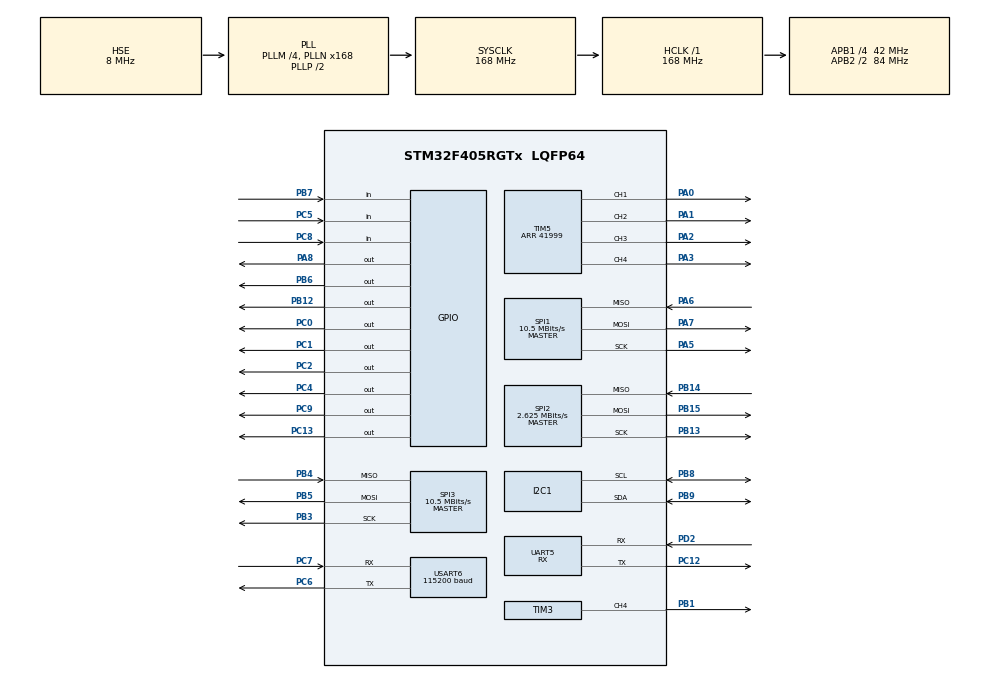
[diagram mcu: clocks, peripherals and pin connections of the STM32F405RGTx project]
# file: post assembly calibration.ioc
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I2C1.I2C_Mode=I2C_Fast
Mcu.Family=STM32F4
Mcu.Name=STM32F405RGTx
Mcu.Package=LQFP64
NVIC.PriorityGroup=NVIC_PRIORITYGROUP_4
NVIC.UART5_IRQn=true\:0\:0\:false\:false\:true\:true\:true\:true
NVIC.USART6_IRQn=true\:0\:0\:false\:false\:true\:true\:true\:true
PA0-WKUP.Signal=S_TIM5_CH1
PA1.Signal=S_TIM5_CH2
PA2.Signal=S_TIM5_CH3
PA3.Signal=S_TIM5_CH4
PA5.Mode=Full_Duplex_Master
PA5.Signal=SPI1_SCK
PA6.Mode=Full_Duplex_Master
PA6.Signal=SPI1_MISO
PA7.Mode=Full_Duplex_Master
PA7.Signal=SPI1_MOSI
PA8.Signal=GPIO_Output
PB1.Signal=S_TIM3_CH4
PB12.Signal=GPIO_Output
PB13.Mode=Full_Duplex_Master
PB13.Signal=SPI2_SCK
PB14.Mode=Full_Duplex_Master
PB14.Signal=SPI2_MISO
PB15.Mode=Full_Duplex_Master
PB15.Signal=SPI2_MOSI
PB3.Mode=Full_Duplex_Master
PB3.Signal=SPI3_SCK
PB4.Mode=Full_Duplex_Master
PB4.Signal=SPI3_MISO
PB5.Mode=Full_Duplex_Master
PB5.Signal=SPI3_MOSI
PB6.Signal=GPIO_Output
PB7.Signal=GPIO_Input
PB8.Mode=I2C
PB8.Signal=I2C1_SCL
PB9.Mode=I2C
PB9.Signal=I2C1_SDA
PC0.Signal=GPIO_Output
PC1.Signal=GPIO_Output
PC12.Mode=Asynchronous
PC12.Signal=UART5_TX
PC13-ANTI_TAMP.PinState=GPIO_PIN_SET
PC13-ANTI_TAMP.Signal=GPIO_Output
PC2.Signal=GPIO_Output
PC4.Signal=GPIO_Output
PC5.Signal=GPIO_Input
PC6.Mode=Asynchronous
PC6.Signal=USART6_TX
PC7.Mode=Asynchronous
PC7.Signal=USART6_RX
PC8.Signal=GPIO_Input
PC9.Signal=GPIO_Output
PD2.Mode=Asynchronous
PD2.Signal=UART5_RX
PH0-OSC_IN.Mode=HSE-External-Oscillator
PH0-OSC_IN.Signal=RCC_OSC_IN
PH1-OSC_OUT.Mode=HSE-External-Oscillator
PH1-OSC_OUT.Signal=RCC_OSC_OUT
ProjectManager.HeapSize=0x200
ProjectManager.StackSize=0x400
ProjectManager.TargetToolchain=STM32CubeIDE
RCC.48MHZClocksFreq_Value=84000000
RCC.AHBFreq_Value=168000000
RCC.APB1CLKDivider=RCC_HCLK_DIV4
RCC.APB1Freq_Value=42000000
RCC.APB1TimFreq_Value=84000000
RCC.APB2CLKDivider=RCC_HCLK_DIV2
RCC.APB2Freq_Value=84000000
RCC.APB2TimFreq_Value=168000000
RCC.CortexFreq_Value=168000000
RCC.HCLKFreq_Value=168000000
RCC.HSE_VALUE=8000000
RCC.HSI_VALUE=16000000
RCC.LSE_VALUE=32768
RCC.PLLM=4
RCC.PLLN=168
RCC.PLLSourceVirtual=RCC_PLLSOURCE_HSE
RCC.SYSCLKFreq_VALUE=168000000
RCC.SYSCLKSource=RCC_SYSCLKSOURCE_PLLCLK
RCC.VCOOutputFreq_Value=336000000
SH.S_TIM3_CH4.0=TIM3_CH4,PWM Generation4 CH4
SH.S_TIM5_CH1.0=TIM5_CH1,PWM Generation1 CH1
SH.S_TIM5_CH2.0=TIM5_CH2,PWM Generation2 CH2
SH.S_TIM5_CH3.0=TIM5_CH3,PWM Generation3 CH3
SH.S_TIM5_CH4.0=TIM5_CH4,PWM Generation4 CH4
SPI1.BaudRatePrescaler=SPI_BAUDRATEPRESCALER_8
SPI1.CLKPhase=SPI_PHASE_2EDGE
SPI1.CLKPolarity=SPI_POLARITY_HIGH
SPI1.CalculateBaudRate=10.5 MBits/s
SPI1.DataSize=SPI_DATASIZE_8BIT
SPI1.Direction=SPI_DIRECTION_2LINES
SPI1.Mode=SPI_MODE_MASTER
SPI1.VirtualType=VM_MASTER
SPI2.BaudRatePrescaler=SPI_BAUDRATEPRESCALER_16
SPI2.CLKPhase=SPI_PHASE_2EDGE
SPI2.CLKPolarity=SPI_POLARITY_HIGH
SPI2.CalculateBaudRate=2.625 MBits/s
SPI2.Direction=SPI_DIRECTION_2LINES
SPI2.Mode=SPI_MODE_MASTER
SPI2.VirtualType=VM_MASTER
SPI3.BaudRatePrescaler=SPI_BAUDRATEPRESCALER_4
SPI3.CLKPhase=SPI_PHASE_2EDGE
SPI3.CLKPolarity=SPI_POLARITY_HIGH
SPI3.CalculateBaudRate=10.5 MBits/s
SPI3.Direction=SPI_DIRECTION_2LINES
SPI3.Mode=SPI_MODE_MASTER
SPI3.VirtualType=VM_MASTER
TIM3.AutoReloadPreload=TIM_AUTORELOAD_PRELOAD_ENABLE
TIM3.Channel-PWM\ Generation4\ CH4=TIM_CHANNEL_4
TIM3.OCFastMode_PWM-PWM\ Generation4\ CH4=TIM_OCFAST_ENABLE
TIM3.Period=20
TIM3.Prescaler=999
TIM3.Pulse-PWM\ Generation4\ CH4=10
TIM5.AutoReloadPreload=TIM_AUTORELOAD_PRELOAD_ENABLE
TIM5.Channel-PWM\ Generation1\ CH1=TIM_CHANNEL_1
TIM5.Channel-PWM\ Generation2\ CH2=TIM_CHANNEL_2
TIM5.Channel-PWM\ Generation3\ CH3=TIM_CHANNEL_3
TIM5.Channel-PWM\ Generation4\ CH4=TIM_CHANNEL_4
TIM5.OCFastMode_PWM-PWM\ Generation1\ CH1=TIM_OCFAST_ENABLE
TIM5.OCFastMode_PWM-PWM\ Generation2\ CH2=TIM_OCFAST_ENABLE
TIM5.OCFastMode_PWM-PWM\ Generation3\ CH3=TIM_OCFAST_ENABLE
TIM5.OCFastMode_PWM-PWM\ Generation4\ CH4=TIM_OCFAST_ENABLE
TIM5.Period=41999
TIM5.Pulse-PWM\ Generation1\ CH1=0
TIM5.Pulse-PWM\ Generation2\ CH2=0
TIM5.Pulse-PWM\ Generation3\ CH3=0
UART5.Mode=MODE_RX
UART5.VirtualMode=Asynchronous
USART6.BaudRate=115200
USART6.VirtualMode=VM_ASYNC
VP_TIM3_VS_ClockSourceINT.Mode=Internal
VP_TIM5_VS_ClockSourceINT.Mode=Internal
board=custom

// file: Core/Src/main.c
/* USER CODE BEGIN Header */
/**
 ******************************************************************************
 * @file           : main.c
 * @brief          : Main program body
 ******************************************************************************
 * @attention
 *
 * Copyright (c) 2025 STMicroelectronics.
 * All rights reserved.
 *
 * This software is licensed under terms that can be found in the LICENSE file
 * in the root directory of this software component.
 * If no LICENSE file comes with this software, it is provided AS-IS.
 *
 ******************************************************************************
 */
/* USER CODE END Header */
#include "main.h"

/* USER CODE BEGIN Includes */
#include "bno080.h"
#include "quaternion.h"
#include "icm20602.h"
#include "LPS22HH.h"
#include "FS-iA6B.h"
#include <stdio.h>
/* USER CODE END Includes */

/* USER CODE BEGIN PTD */
int _write(int file, char *p, int len)
{
	for (int i = 0; i < len; i ++)
	{
		LL_USART_TransmitData8(USART6, *(p + i));
		HAL_Delay(1);
	}
	return len;
}
/* USER CODE END PTD */

/* USER CODE BEGIN PD */
#define X 0.90f // LOW PASS FILTER CONSTANT (CLOSER TO 1 -> STRONGER THE FILTER)
/* USER CODE END PD */

I2C_HandleTypeDef hi2c1;

/* USER CODE BEGIN PV */
extern uint8_t uart6_rx_flag;
extern uint8_t uart6_rx_data;

extern uint8_t ibus_rx_buf[36];
extern uint8_t ibus_rx_cplt_flag;

extern FSiA6B_iBus iBus;
/* USER CODE END PV */

void SystemClock_Config(void);
static void MX_GPIO_Init(void);
static void MX_TIM3_Init(void);
static void MX_USART6_UART_Init(void);
static void MX_SPI2_Init(void);
static void MX_SPI1_Init(void);
static void MX_SPI3_Init(void);
static void MX_UART5_Init(void);
static void MX_TIM5_Init(void);
static void MX_I2C1_Init(void);

int main(void)
{

  /* USER CODE BEGIN 1 */
	float q[4]; // array to store components of quaternion (x, y, z, w)
	float quatRadianAccuracy;
	unsigned char buf_read[16] = {0};
	unsigned char buf_write[17] = {1, 2, 3, 4, 5, 6, 7, 8, 9, 10, 11, 12, 13, 14, 15, 16, 17};
  /* USER CODE END 1 */

  /* MCU Configuration--------------------------------------------------------*/

  /* Reset of all peripherals, Initializes the Flash interface and the Systick. */
  HAL_Init();

  /* Configure the system clock */
  SystemClock_Config();

  /* Initialize all configured peripherals */
  MX_GPIO_Init();
  MX_TIM3_Init();
  MX_USART6_UART_Init();
  MX_SPI2_Init();
  MX_SPI1_Init();
  MX_SPI3_Init();
  MX_UART5_Init();
  MX_TIM5_Init();
  MX_I2C1_Init();
  /* USER CODE BEGIN 2 */
	LL_TIM_EnableCounter(TIM3);

	LL_USART_EnableIT_RXNE(USART6);
	// TODO: enable interrupt pin for GPS module
	LL_USART_EnableIT_RXNE(UART5);

	// initialize 9-axis sensor for rotation vector
	BNO080_Initialization();
	BNO080_enableRotationVector(2500);

	// initialize 6-axis sensor for angular velocity
	ICM20602_Initialization();

	// initialize barometric sensor for altitude
	LPS22HH_Initialization();

	// TODO: initialize M8N GPS module

	// initialize timer for generating PWM signals to motors
	LL_TIM_EnableCounter(TIM5);
	LL_TIM_CC_EnableChannel(TIM5, LL_TIM_CHANNEL_CH1);
	LL_TIM_CC_EnableChannel(TIM5, LL_TIM_CHANNEL_CH2);
	LL_TIM_CC_EnableChannel(TIM5, LL_TIM_CHANNEL_CH3);
	LL_TIM_CC_EnableChannel(TIM5, LL_TIM_CHANNEL_CH4);

	// block until iBus connection established
//	while (!iBus_Connection_Status)
//	{
//		LL_TIM_CC_EnableChannel(TIM3, LL_TIM_CHANNEL_CH4);
//
//		TIM3->PSC = 3000;
//		HAL_Delay(200);
//		LL_TIM_CC_DisableChannel(TIM3, LL_TIM_CHANNEL_CH4);
//		HAL_Delay(200);
//	}

	// calibration switch active?
//	if (iBus.SwC == 2000)
//	{
//		LL_TIM_CC_EnableChannel(TIM3, LL_TIM_CHANNEL_CH4);
//
//		TIM3->PSC = 1500;
//		HAL_Delay(200);
//		TIM3->PSC = 2000;
//		HAL_Delay(200);
//		TIM3->PSC = 1500;
//		HAL_Delay(200);
//		TIM3->PSC = 2000;
//		HAL_Delay(200);
//
//		LL_TIM_CC_DisableChannel(TIM3, LL_TIM_CHANNEL_CH4);
//
//		ESC_Calibration();
//		while (iBus.SwC != 1000)
//		{
//			iBus_Connection_Status();
//
//			LL_TIM_CC_EnableChannel(TIM3, LL_TIM_CHANNEL_CH4);
//
//			TIM3->PSC = 2000;
//			HAL_Delay(200);
//			TIM3->PSC = 2500;
//			HAL_Delay(200);
//
//			LL_TIM_CC_DisableChannel(TIM3, LL_TIM_CHANNEL_CH4);
//		}
//	}

	// ensure throttle stick is at minimum upon startup
//	while (!iBus_Throttle_Min())
//	{
//		LL_TIM_CC_EnableChannel(TIM3, LL_TIM_CHANNEL_CH4);
//
//		TIM3->PSC = 1000;
//		HAL_Delay(70);
//		LL_TIM_CC_DisableChannel(TIM3, LL_TIM_CHANNEL_CH4);
//		HAL_Delay(70);
//	}

	HAL_I2C_Mem_Read(&hi2c1, 0xA0, 0x00, I2C_MEMADD_SIZE_8BIT, &buf_read[0], sizeof(buf_read), 1);

	for(int i = 0; i < 16; i++) printf("%d ", buf_read[i]);

	LL_GPIO_ResetOutputPin(GPIOC, LL_GPIO_PIN_13);
	HAL_I2C_Mem_Write(&hi2c1, 0xA0, 0x00, I2C_MEMADD_SIZE_8BIT, &buf_write[0], sizeof(buf_write), 1);
	HAL_Delay(1);
	LL_GPIO_SetOutputPin(GPIOC, LL_GPIO_PIN_13);

	HAL_I2C_Mem_Read(&hi2c1, 0xA0, 0x00, I2C_MEMADD_SIZE_8BIT, &buf_read[0], sizeof(buf_read), 1);

	for(int i = 0; i < 16; i++) printf("%d ", buf_read[i]);

	// buzzer to indicate successful startup
	LL_TIM_CC_EnableChannel(TIM3, LL_TIM_CHANNEL_CH4);

	TIM3->PSC = 2000;
	HAL_Delay(100);
	TIM3->PSC = 1500;
	HAL_Delay(100);
	TIM3->PSC = 1000;
	HAL_Delay(100);

	LL_TIM_CC_DisableChannel(TIM3, LL_TIM_CHANNEL_CH4);

	printf("start\n");

  /* USER CODE END 2 */

  /* Infinite loop */
	while (1)
	{

    /* USER CODE BEGIN 3 */
			if (BNO080_dataAvailable())
			{
				q[0] = BNO080_getQuatI();
				q[1] = BNO080_getQuatJ();
				q[2] = BNO080_getQuatK();
				q[3] = BNO080_getQuatReal();
				quatRadianAccuracy = BNO080_getQuatRadianAccuracy();

				Quaternion_Update(&q[0]);

				//printf("R: %d, P: %d, Y: %d\n", (int) (BNO080_Roll * 100), (int) (BNO080_Pitch * 100), (int) (BNO080_Yaw * 100));
				printf("%d, %d\n", (int) (BNO080_Roll * 100), (int) (BNO080_Pitch * 100));
			}

		//	if (ICM20602_DataReady())
		//	{
		//		ICM20602_Get3AxisGyroRawData(&ICM20602->gyro_x_raw);
		//
		//		ICM20602->gyro_x = ICM20602->gyro_x_raw * 2000.f / 32768.f;
		//		ICM20602->gyro_y = ICM20602->gyro_y_raw * 2000.f / 32768.f;
		//		ICM20602->gyro_z = ICM20602->gyro_z_raw * 2000.f / 32768.f;
		//
		//		printf("%d %d %d\n", ICM20602->gyro_x_raw, ICM20602->gyro_y_raw, ICM20602->gyro_z_raw);
		//		printf("%d %d %d\n", (int)(ICM20602->gyro_x*100), (int)(ICM20602->gyro_y*100), (int)(ICM20602->gyro_z*100));
		//	}

		//	if (LPS22HH_DataReady())
		//	{
		//		LPS22HH_GetPressure(&LPS22HH.pressure_raw);
		//		LPS22HH_GetTemperature(&LPS22HH.temperature_raw);
		//
		//		LPS22HH.baroAlt = getAltitude2(LPS22HH.pressure_raw/4096.f, LPS22HH.temperature_raw/100.f); // altitude in cms
		//
		//		LPS22HH.baroAltFilt = LPS22HH.baroAltFilt * X + LPS22HH.baroAlt * (1.0f - X);
		//
		//		printf("%d %d\n", (int) (LPS22HH.baroAlt*100), (int) (LPS22HH.baroAltFilt*100));
		//	}

//		if (ibus_rx_cplt_flag)
//		{
//			ibus_rx_cplt_flag = 0;
//			if (iBus_Check_CHKSUM(&ibus_rx_buf[0], 32))
//			{
//				LL_GPIO_TogglePin(GPIOC, LL_GPIO_PIN_2); // toggle LED if iBus frame checksum successful --> intact iBus frame
//
//				iBus_Parse(&ibus_rx_buf[0], &iBus); // parse and store switch/gimbal data in iBus structure
//
//				// failsafe for shutting down upon abrupt disconnect between transmitter and receiver
//				if (iBus_isActiveFailsafe(&iBus))
//				{
//					LL_TIM_CC_EnableChannel(TIM3, LL_TIM_CHANNEL_CH4);
//				}
//				else
//				{
//					LL_TIM_CC_DisableChannel(TIM3, LL_TIM_CHANNEL_CH4);
//				}
//
//				//        	printf("%d\t%d\t%d\t%d\t%d\t%d\t\n", iBus.RH, iBus.RV, iBus.LV, iBus.LH, iBus.SwA, iBus.SwC);
//				//
//				//        	HAL_Delay(30);
//			}
//		}
	}
  /* USER CODE END 3 */
}

void SystemClock_Config(void)
{
  RCC_OscInitTypeDef RCC_OscInitStruct = {0};
  RCC_ClkInitTypeDef RCC_ClkInitStruct = {0};

  /** Configure the main internal regulator output voltage
  */
  __HAL_RCC_PWR_CLK_ENABLE();
  __HAL_PWR_VOLTAGESCALING_CONFIG(PWR_REGULATOR_VOLTAGE_SCALE1);

  /** Initializes the RCC Oscillators according to the specified parameters
  * in the RCC_OscInitTypeDef structure.
  */
  RCC_OscInitStruct.OscillatorType = RCC_OSCILLATORTYPE_HSE;
  RCC_OscInitStruct.HSEState = RCC_HSE_ON;
  RCC_OscInitStruct.PLL.PLLState = RCC_PLL_ON;
  RCC_OscInitStruct.PLL.PLLSource = RCC_PLLSOURCE_HSE;
  RCC_OscInitStruct.PLL.PLLM = 4;
  RCC_OscInitStruct.PLL.PLLN = 168;
  RCC_OscInitStruct.PLL.PLLP = RCC_PLLP_DIV2;
  RCC_OscInitStruct.PLL.PLLQ = 4;
  if (HAL_RCC_OscConfig(&RCC_OscInitStruct) != HAL_OK)
  {
    Error_Handler();
  }

  /** Initializes the CPU, AHB and APB buses clocks
  */
  RCC_ClkInitStruct.ClockType = RCC_CLOCKTYPE_HCLK|RCC_CLOCKTYPE_SYSCLK
                              |RCC_CLOCKTYPE_PCLK1|RCC_CLOCKTYPE_PCLK2;
  RCC_ClkInitStruct.SYSCLKSource = RCC_SYSCLKSOURCE_PLLCLK;
  RCC_ClkInitStruct.AHBCLKDivider = RCC_SYSCLK_DIV1;
  RCC_ClkInitStruct.APB1CLKDivider = RCC_HCLK_DIV4;
  RCC_ClkInitStruct.APB2CLKDivider = RCC_HCLK_DIV2;

  if (HAL_RCC_ClockConfig(&RCC_ClkInitStruct, FLASH_LATENCY_5) != HAL_OK)
  {
    Error_Handler();
  }
}

static void MX_I2C1_Init(void)
{

  hi2c1.Instance = I2C1;
  hi2c1.Init.ClockSpeed = 400000;
  hi2c1.Init.DutyCycle = I2C_DUTYCYCLE_2;
  hi2c1.Init.OwnAddress1 = 0;
  hi2c1.Init.AddressingMode = I2C_ADDRESSINGMODE_7BIT;
  hi2c1.Init.DualAddressMode = I2C_DUALADDRESS_DISABLE;
  hi2c1.Init.OwnAddress2 = 0;
  hi2c1.Init.GeneralCallMode = I2C_GENERALCALL_DISABLE;
  hi2c1.Init.NoStretchMode = I2C_NOSTRETCH_DISABLE;
  if (HAL_I2C_Init(&hi2c1) != HAL_OK)
  {
    Error_Handler();
  }

}

static void MX_SPI1_Init(void)
{

  LL_SPI_InitTypeDef SPI_InitStruct = {0};

  LL_GPIO_InitTypeDef GPIO_InitStruct = {0};

  /* Peripheral clock enable */
  LL_APB2_GRP1_EnableClock(LL_APB2_GRP1_PERIPH_SPI1);

  LL_AHB1_GRP1_EnableClock(LL_AHB1_GRP1_PERIPH_GPIOA);
  /**SPI1 GPIO Configuration
  PA5   ------> SPI1_SCK
  PA6   ------> SPI1_MISO
  PA7   ------> SPI1_MOSI
  */
  GPIO_InitStruct.Pin = LL_GPIO_PIN_5|LL_GPIO_PIN_6|LL_GPIO_PIN_7;
  GPIO_InitStruct.Mode = LL_GPIO_MODE_ALTERNATE;
  GPIO_InitStruct.Speed = LL_GPIO_SPEED_FREQ_VERY_HIGH;
  GPIO_InitStruct.OutputType = LL_GPIO_OUTPUT_PUSHPULL;
  GPIO_InitStruct.Pull = LL_GPIO_PULL_NO;
  GPIO_InitStruct.Alternate = LL_GPIO_AF_5;
  LL_GPIO_Init(GPIOA, &GPIO_InitStruct);

  /* SPI1 parameter configuration*/
  SPI_InitStruct.TransferDirection = LL_SPI_FULL_DUPLEX;
  SPI_InitStruct.Mode = LL_SPI_MODE_MASTER;
  SPI_InitStruct.DataWidth = LL_SPI_DATAWIDTH_8BIT;
  SPI_InitStruct.ClockPolarity = LL_SPI_POLARITY_HIGH;
  SPI_InitStruct.ClockPhase = LL_SPI_PHASE_2EDGE;
  SPI_InitStruct.NSS = LL_SPI_NSS_SOFT;
  SPI_InitStruct.BaudRate = LL_SPI_BAUDRATEPRESCALER_DIV8;
  SPI_InitStruct.BitOrder = LL_SPI_MSB_FIRST;
  SPI_InitStruct.CRCCalculation = LL_SPI_CRCCALCULATION_DISABLE;
  SPI_InitStruct.CRCPoly = 10;
  LL_SPI_Init(SPI1, &SPI_InitStruct);
  LL_SPI_SetStandard(SPI1, LL_SPI_PROTOCOL_MOTOROLA);

}

static void MX_SPI2_Init(void)
{

  LL_SPI_InitTypeDef SPI_InitStruct = {0};

  LL_GPIO_InitTypeDef GPIO_InitStruct = {0};

  /* Peripheral clock enable */
  LL_APB1_GRP1_EnableClock(LL_APB1_GRP1_PERIPH_SPI2);

  LL_AHB1_GRP1_EnableClock(LL_AHB1_GRP1_PERIPH_GPIOB);
  /**SPI2 GPIO Configuration
  PB13   ------> SPI2_SCK
  PB14   ------> SPI2_MISO
  PB15   ------> SPI2_MOSI
  */
  GPIO_InitStruct.Pin = LL_GPIO_PIN_13|LL_GPIO_PIN_14|LL_GPIO_PIN_15;
  GPIO_InitStruct.Mode = LL_GPIO_MODE_ALTERNATE;
  GPIO_InitStruct.Speed = LL_GPIO_SPEED_FREQ_VERY_HIGH;
  GPIO_InitStruct.OutputType = LL_GPIO_OUTPUT_PUSHPULL;
  GPIO_InitStruct.Pull = LL_GPIO_PULL_NO;
  GPIO_InitStruct.Alternate = LL_GPIO_AF_5;
  LL_GPIO_Init(GPIOB, &GPIO_InitStruct);

  /* SPI2 parameter configuration*/
  SPI_InitStruct.TransferDirection = LL_SPI_FULL_DUPLEX;
  SPI_InitStruct.Mode = LL_SPI_MODE_MASTER;
  SPI_InitStruct.DataWidth = LL_SPI_DATAWIDTH_8BIT;
  SPI_InitStruct.ClockPolarity = LL_SPI_POLARITY_HIGH;
  SPI_InitStruct.ClockPhase = LL_SPI_PHASE_2EDGE;
  SPI_InitStruct.NSS = LL_SPI_NSS_SOFT;
  SPI_InitStruct.BaudRate = LL_SPI_BAUDRATEPRESCALER_DIV16;
  SPI_InitStruct.BitOrder = LL_SPI_MSB_FIRST;
  SPI_InitStruct.CRCCalculation = LL_SPI_CRCCALCULATION_DISABLE;
  SPI_InitStruct.CRCPoly = 10;
  LL_SPI_Init(SPI2, &SPI_InitStruct);
  LL_SPI_SetStandard(SPI2, LL_SPI_PROTOCOL_MOTOROLA);

}

static void MX_SPI3_Init(void)
{

  LL_SPI_InitTypeDef SPI_InitStruct = {0};

  LL_GPIO_InitTypeDef GPIO_InitStruct = {0};

  /* Peripheral clock enable */
  LL_APB1_GRP1_EnableClock(LL_APB1_GRP1_PERIPH_SPI3);

  LL_AHB1_GRP1_EnableClock(LL_AHB1_GRP1_PERIPH_GPIOB);
  /**SPI3 GPIO Configuration
  PB3   ------> SPI3_SCK
  PB4   ------> SPI3_MISO
  PB5   ------> SPI3_MOSI
  */
  GPIO_InitStruct.Pin = LL_GPIO_PIN_3|LL_GPIO_PIN_4|LL_GPIO_PIN_5;
  GPIO_InitStruct.Mode = LL_GPIO_MODE_ALTERNATE;
  GPIO_InitStruct.Speed = LL_GPIO_SPEED_FREQ_VERY_HIGH;
  GPIO_InitStruct.OutputType = LL_GPIO_OUTPUT_PUSHPULL;
  GPIO_InitStruct.Pull = LL_GPIO_PULL_NO;
  GPIO_InitStruct.Alternate = LL_GPIO_AF_6;
  LL_GPIO_Init(GPIOB, &GPIO_InitStruct);

  /* SPI3 parameter configuration*/
  SPI_InitStruct.TransferDirection = LL_SPI_FULL_DUPLEX;
  SPI_InitStruct.Mode = LL_SPI_MODE_MASTER;
  SPI_InitStruct.DataWidth = LL_SPI_DATAWIDTH_8BIT;
  SPI_InitStruct.ClockPolarity = LL_SPI_POLARITY_HIGH;
  SPI_InitStruct.ClockPhase = LL_SPI_PHASE_2EDGE;
  SPI_InitStruct.NSS = LL_SPI_NSS_SOFT;
  SPI_InitStruct.BaudRate = LL_SPI_BAUDRATEPRESCALER_DIV4;
  SPI_InitStruct.BitOrder = LL_SPI_MSB_FIRST;
  SPI_InitStruct.CRCCalculation = LL_SPI_CRCCALCULATION_DISABLE;
  SPI_InitStruct.CRCPoly = 10;
  LL_SPI_Init(SPI3, &SPI_InitStruct);
  LL_SPI_SetStandard(SPI3, LL_SPI_PROTOCOL_MOTOROLA);

}

static void MX_TIM3_Init(void)
{

  LL_TIM_InitTypeDef TIM_InitStruct = {0};
  LL_TIM_OC_InitTypeDef TIM_OC_InitStruct = {0};

  LL_GPIO_InitTypeDef GPIO_InitStruct = {0};

  /* Peripheral clock enable */
  LL_APB1_GRP1_EnableClock(LL_APB1_GRP1_PERIPH_TIM3);

  TIM_InitStruct.Prescaler = 999;
  TIM_InitStruct.CounterMode = LL_TIM_COUNTERMODE_UP;
  TIM_InitStruct.Autoreload = 20;
  TIM_InitStruct.ClockDivision = LL_TIM_CLOCKDIVISION_DIV1;
  LL_TIM_Init(TIM3, &TIM_InitStruct);
  LL_TIM_EnableARRPreload(TIM3);
  LL_TIM_SetClockSource(TIM3, LL_TIM_CLOCKSOURCE_INTERNAL);
  LL_TIM_OC_EnablePreload(TIM3, LL_TIM_CHANNEL_CH4);
  TIM_OC_InitStruct.OCMode = LL_TIM_OCMODE_PWM1;
  TIM_OC_InitStruct.OCState = LL_TIM_OCSTATE_DISABLE;
  TIM_OC_InitStruct.OCNState = LL_TIM_OCSTATE_DISABLE;
  TIM_OC_InitStruct.CompareValue = 10;
  TIM_OC_InitStruct.OCPolarity = LL_TIM_OCPOLARITY_HIGH;
  LL_TIM_OC_Init(TIM3, LL_TIM_CHANNEL_CH4, &TIM_OC_InitStruct);
  LL_TIM_OC_EnableFast(TIM3, LL_TIM_CHANNEL_CH4);
  LL_TIM_SetTriggerOutput(TIM3, LL_TIM_TRGO_RESET);
  LL_TIM_DisableMasterSlaveMode(TIM3);
  LL_AHB1_GRP1_EnableClock(LL_AHB1_GRP1_PERIPH_GPIOB);
  /**TIM3 GPIO Configuration
  PB1   ------> TIM3_CH4
  */
  GPIO_InitStruct.Pin = LL_GPIO_PIN_1;
  GPIO_InitStruct.Mode = LL_GPIO_MODE_ALTERNATE;
  GPIO_InitStruct.Speed = LL_GPIO_SPEED_FREQ_LOW;
  GPIO_InitStruct.OutputType = LL_GPIO_OUTPUT_PUSHPULL;
  GPIO_InitStruct.Pull = LL_GPIO_PULL_NO;
  GPIO_InitStruct.Alternate = LL_GPIO_AF_2;
  LL_GPIO_Init(GPIOB, &GPIO_InitStruct);

}

static void MX_TIM5_Init(void)
{

  LL_TIM_InitTypeDef TIM_InitStruct = {0};
  LL_TIM_OC_InitTypeDef TIM_OC_InitStruct = {0};

  LL_GPIO_InitTypeDef GPIO_InitStruct = {0};

  /* Peripheral clock enable */
  LL_APB1_GRP1_EnableClock(LL_APB1_GRP1_PERIPH_TIM5);

  TIM_InitStruct.Prescaler = 0;
  TIM_InitStruct.CounterMode = LL_TIM_COUNTERMODE_UP;
  TIM_InitStruct.Autoreload = 41999;
  TIM_InitStruct.ClockDivision = LL_TIM_CLOCKDIVISION_DIV1;
  LL_TIM_Init(TIM5, &TIM_InitStruct);
  LL_TIM_EnableARRPreload(TIM5);
  LL_TIM_SetClockSource(TIM5, LL_TIM_CLOCKSOURCE_INTERNAL);
  LL_TIM_OC_EnablePreload(TIM5, LL_TIM_CHANNEL_CH1);
  TIM_OC_InitStruct.OCMode = LL_TIM_OCMODE_PWM1;
  TIM_OC_InitStruct.OCState = LL_TIM_OCSTATE_DISABLE;
  TIM_OC_InitStruct.OCNState = LL_TIM_OCSTATE_DISABLE;
  TIM_OC_InitStruct.CompareValue = 0;
  TIM_OC_InitStruct.OCPolarity = LL_TIM_OCPOLARITY_HIGH;
  LL_TIM_OC_Init(TIM5, LL_TIM_CHANNEL_CH1, &TIM_OC_InitStruct);
  LL_TIM_OC_EnableFast(TIM5, LL_TIM_CHANNEL_CH1);
  LL_TIM_OC_EnablePreload(TIM5, LL_TIM_CHANNEL_CH2);
  LL_TIM_OC_Init(TIM5, LL_TIM_CHANNEL_CH2, &TIM_OC_InitStruct);
  LL_TIM_OC_EnableFast(TIM5, LL_TIM_CHANNEL_CH2);
  LL_TIM_OC_EnablePreload(TIM5, LL_TIM_CHANNEL_CH3);
  LL_TIM_OC_Init(TIM5, LL_TIM_CHANNEL_CH3, &TIM_OC_InitStruct);
  LL_TIM_OC_EnableFast(TIM5, LL_TIM_CHANNEL_CH3);
  LL_TIM_OC_EnablePreload(TIM5, LL_TIM_CHANNEL_CH4);
  LL_TIM_OC_Init(TIM5, LL_TIM_CHANNEL_CH4, &TIM_OC_InitStruct);
  LL_TIM_OC_EnableFast(TIM5, LL_TIM_CHANNEL_CH4);
  LL_TIM_SetTriggerOutput(TIM5, LL_TIM_TRGO_RESET);
  LL_TIM_DisableMasterSlaveMode(TIM5);
  LL_AHB1_GRP1_EnableClock(LL_AHB1_GRP1_PERIPH_GPIOA);
  /**TIM5 GPIO Configuration
  PA0-WKUP   ------> TIM5_CH1
  PA1   ------> TIM5_CH2
  PA2   ------> TIM5_CH3
  PA3   ------> TIM5_CH4
  */
  GPIO_InitStruct.Pin = LL_GPIO_PIN_0|LL_GPIO_PIN_1|LL_GPIO_PIN_2|LL_GPIO_PIN_3;
  GPIO_InitStruct.Mode = LL_GPIO_MODE_ALTERNATE;
  GPIO_InitStruct.Speed = LL_GPIO_SPEED_FREQ_LOW;
  GPIO_InitStruct.OutputType = LL_GPIO_OUTPUT_PUSHPULL;
  GPIO_InitStruct.Pull = LL_GPIO_PULL_NO;
  GPIO_InitStruct.Alternate = LL_GPIO_AF_2;
  LL_GPIO_Init(GPIOA, &GPIO_InitStruct);

}

static void MX_UART5_Init(void)
{

  LL_USART_InitTypeDef USART_InitStruct = {0};

  LL_GPIO_InitTypeDef GPIO_InitStruct = {0};

  /* Peripheral clock enable */
  LL_APB1_GRP1_EnableClock(LL_APB1_GRP1_PERIPH_UART5);

  LL_AHB1_GRP1_EnableClock(LL_AHB1_GRP1_PERIPH_GPIOC);
  LL_AHB1_GRP1_EnableClock(LL_AHB1_GRP1_PERIPH_GPIOD);
  /**UART5 GPIO Configuration
  PC12   ------> UART5_TX
  PD2   ------> UART5_RX
  */
  GPIO_InitStruct.Pin = LL_GPIO_PIN_12;
  GPIO_InitStruct.Mode = LL_GPIO_MODE_ALTERNATE;
  GPIO_InitStruct.Speed = LL_GPIO_SPEED_FREQ_VERY_HIGH;
  GPIO_InitStruct.OutputType = LL_GPIO_OUTPUT_PUSHPULL;
  GPIO_InitStruct.Pull = LL_GPIO_PULL_NO;
  GPIO_InitStruct.Alternate = LL_GPIO_AF_8;
  LL_GPIO_Init(GPIOC, &GPIO_InitStruct);

  GPIO_InitStruct.Pin = LL_GPIO_PIN_2;
  GPIO_InitStruct.Mode = LL_GPIO_MODE_ALTERNATE;
  GPIO_InitStruct.Speed = LL_GPIO_SPEED_FREQ_VERY_HIGH;
  GPIO_InitStruct.OutputType = LL_GPIO_OUTPUT_PUSHPULL;
  GPIO_InitStruct.Pull = LL_GPIO_PULL_NO;
  GPIO_InitStruct.Alternate = LL_GPIO_AF_8;
  LL_GPIO_Init(GPIOD, &GPIO_InitStruct);

  /* UART5 interrupt Init */
  NVIC_SetPriority(UART5_IRQn, NVIC_EncodePriority(NVIC_GetPriorityGrouping(),0, 0));
  NVIC_EnableIRQ(UART5_IRQn);

  USART_InitStruct.BaudRate = 115200;
  USART_InitStruct.DataWidth = LL_USART_DATAWIDTH_8B;
  USART_InitStruct.StopBits = LL_USART_STOPBITS_1;
  USART_InitStruct.Parity = LL_USART_PARITY_NONE;
  USART_InitStruct.TransferDirection = LL_USART_DIRECTION_RX;
  USART_InitStruct.HardwareFlowControl = LL_USART_HWCONTROL_NONE;
  USART_InitStruct.OverSampling = LL_USART_OVERSAMPLING_16;
  LL_USART_Init(UART5, &USART_InitStruct);
  LL_USART_ConfigAsyncMode(UART5);
  LL_USART_Enable(UART5);

}

static void MX_USART6_UART_Init(void)
{

  LL_USART_InitTypeDef USART_InitStruct = {0};

  LL_GPIO_InitTypeDef GPIO_InitStruct = {0};

  /* Peripheral clock enable */
  LL_APB2_GRP1_EnableClock(LL_APB2_GRP1_PERIPH_USART6);

  LL_AHB1_GRP1_EnableClock(LL_AHB1_GRP1_PERIPH_GPIOC);
  /**USART6 GPIO Configuration
  PC6   ------> USART6_TX
  PC7   ------> USART6_RX
  */
  GPIO_InitStruct.Pin = LL_GPIO_PIN_6|LL_GPIO_PIN_7;
  GPIO_InitStruct.Mode = LL_GPIO_MODE_ALTERNATE;
  GPIO_InitStruct.Speed = LL_GPIO_SPEED_FREQ_VERY_HIGH;
  GPIO_InitStruct.OutputType = LL_GPIO_OUTPUT_PUSHPULL;
  GPIO_InitStruct.Pull = LL_GPIO_PULL_NO;
  GPIO_InitStruct.Alternate = LL_GPIO_AF_8;
  LL_GPIO_Init(GPIOC, &GPIO_InitStruct);

  /* USART6 interrupt Init */
  NVIC_SetPriority(USART6_IRQn, NVIC_EncodePriority(NVIC_GetPriorityGrouping(),0, 0));
  NVIC_EnableIRQ(USART6_IRQn);

  USART_InitStruct.BaudRate = 115200;
  USART_InitStruct.DataWidth = LL_USART_DATAWIDTH_8B;
  USART_InitStruct.StopBits = LL_USART_STOPBITS_1;
  USART_InitStruct.Parity = LL_USART_PARITY_NONE;
  USART_InitStruct.TransferDirection = LL_USART_DIRECTION_TX_RX;
  USART_InitStruct.HardwareFlowControl = LL_USART_HWCONTROL_NONE;
  USART_InitStruct.OverSampling = LL_USART_OVERSAMPLING_16;
  LL_USART_Init(USART6, &USART_InitStruct);
  LL_USART_ConfigAsyncMode(USART6);
  LL_USART_Enable(USART6);

}

static void MX_GPIO_Init(void)
{
  LL_GPIO_InitTypeDef GPIO_InitStruct = {0};

  /* GPIO Ports Clock Enable */
  LL_AHB1_GRP1_EnableClock(LL_AHB1_GRP1_PERIPH_GPIOC);
  LL_AHB1_GRP1_EnableClock(LL_AHB1_GRP1_PERIPH_GPIOH);
  LL_AHB1_GRP1_EnableClock(LL_AHB1_GRP1_PERIPH_GPIOA);
  LL_AHB1_GRP1_EnableClock(LL_AHB1_GRP1_PERIPH_GPIOB);
  LL_AHB1_GRP1_EnableClock(LL_AHB1_GRP1_PERIPH_GPIOD);

  /**/
  LL_GPIO_SetOutputPin(GPIOC, LL_GPIO_PIN_13);

  /**/
  LL_GPIO_ResetOutputPin(GPIOC, LL_GPIO_PIN_0|LL_GPIO_PIN_1|LL_GPIO_PIN_2|LL_GPIO_PIN_4
                          |LL_GPIO_PIN_9);

  /**/
  LL_GPIO_ResetOutputPin(GPIOB, LL_GPIO_PIN_12|LL_GPIO_PIN_6);

  /**/
  LL_GPIO_ResetOutputPin(GPIOA, LL_GPIO_PIN_8);

  /**/
  GPIO_InitStruct.Pin = LL_GPIO_PIN_13|LL_GPIO_PIN_0|LL_GPIO_PIN_1|LL_GPIO_PIN_2
                          |LL_GPIO_PIN_4|LL_GPIO_PIN_9;
  GPIO_InitStruct.Mode = LL_GPIO_MODE_OUTPUT;
  GPIO_InitStruct.Speed = LL_GPIO_SPEED_FREQ_LOW;
  GPIO_InitStruct.OutputType = LL_GPIO_OUTPUT_PUSHPULL;
  GPIO_InitStruct.Pull = LL_GPIO_PULL_NO;
  LL_GPIO_Init(GPIOC, &GPIO_InitStruct);

  /**/
  GPIO_InitStruct.Pin = LL_GPIO_PIN_5|LL_GPIO_PIN_8;
  GPIO_InitStruct.Mode = LL_GPIO_MODE_INPUT;
  GPIO_InitStruct.Pull = LL_GPIO_PULL_NO;
  LL_GPIO_Init(GPIOC, &GPIO_InitStruct);

  /**/
  GPIO_InitStruct.Pin = LL_GPIO_PIN_12|LL_GPIO_PIN_6;
  GPIO_InitStruct.Mode = LL_GPIO_MODE_OUTPUT;
  GPIO_InitStruct.Speed = LL_GPIO_SPEED_FREQ_LOW;
  GPIO_InitStruct.OutputType = LL_GPIO_OUTPUT_PUSHPULL;
  GPIO_InitStruct.Pull = LL_GPIO_PULL_NO;
  LL_GPIO_Init(GPIOB, &GPIO_InitStruct);

  /**/
  GPIO_InitStruct.Pin = LL_GPIO_PIN_8;
  GPIO_InitStruct.Mode = LL_GPIO_MODE_OUTPUT;
  GPIO_InitStruct.Speed = LL_GPIO_SPEED_FREQ_LOW;
  GPIO_InitStruct.OutputType = LL_GPIO_OUTPUT_PUSHPULL;
  GPIO_InitStruct.Pull = LL_GPIO_PULL_NO;
  LL_GPIO_Init(GPIOA, &GPIO_InitStruct);

  /**/
  GPIO_InitStruct.Pin = LL_GPIO_PIN_7;
  GPIO_InitStruct.Mode = LL_GPIO_MODE_INPUT;
  GPIO_InitStruct.Pull = LL_GPIO_PULL_NO;
  LL_GPIO_Init(GPIOB, &GPIO_InitStruct);

}

/* USER CODE BEGIN 4 */
int iBus_Throttle_Min(void)
{
	if (ibus_rx_cplt_flag)
	{
		ibus_rx_cplt_flag = 0;
		if (iBus_Check_CHKSUM(&ibus_rx_buf[0], 32))
		{
			LL_GPIO_TogglePin(GPIOC, LL_GPIO_PIN_2); // toggle LED if iBus frame checksum successful --> intact iBus frame

			iBus_Parse(&ibus_rx_buf[0], &iBus); // parse and store switch/gimbal data in iBus structure

			if (iBus.LV < 1010) return 1;
		}
	}

	return 0;
}

void ESC_Calibration(void)
{
	// set max pulse width
	TIM5->CCR1 = 21000;
	TIM5->CCR2 = 21000;
	TIM5->CCR3 = 21000;
	TIM5->CCR4 = 21000;
	HAL_Delay(7000);

	// set min pulse width
	TIM5->CCR1 = 10500;
	TIM5->CCR2 = 10500;
	TIM5->CCR3 = 10500;
	TIM5->CCR4 = 10500;
	HAL_Delay(8000);
}

int iBus_Connection_Status(void)
{
	if (ibus_rx_cplt_flag)
	{
		ibus_rx_cplt_flag = 0;
		if (iBus_Check_CHKSUM(&ibus_rx_buf[0], 32))
		{
			iBus_Parse(&ibus_rx_buf[0], &iBus); // parse and store switch/gimbal data in iBus structure
			return 1;
		}
	}

	return 0;
}
/* USER CODE END 4 */

void Error_Handler(void)
{
	__disable_irq();
	while (1)
	{
	}
}
